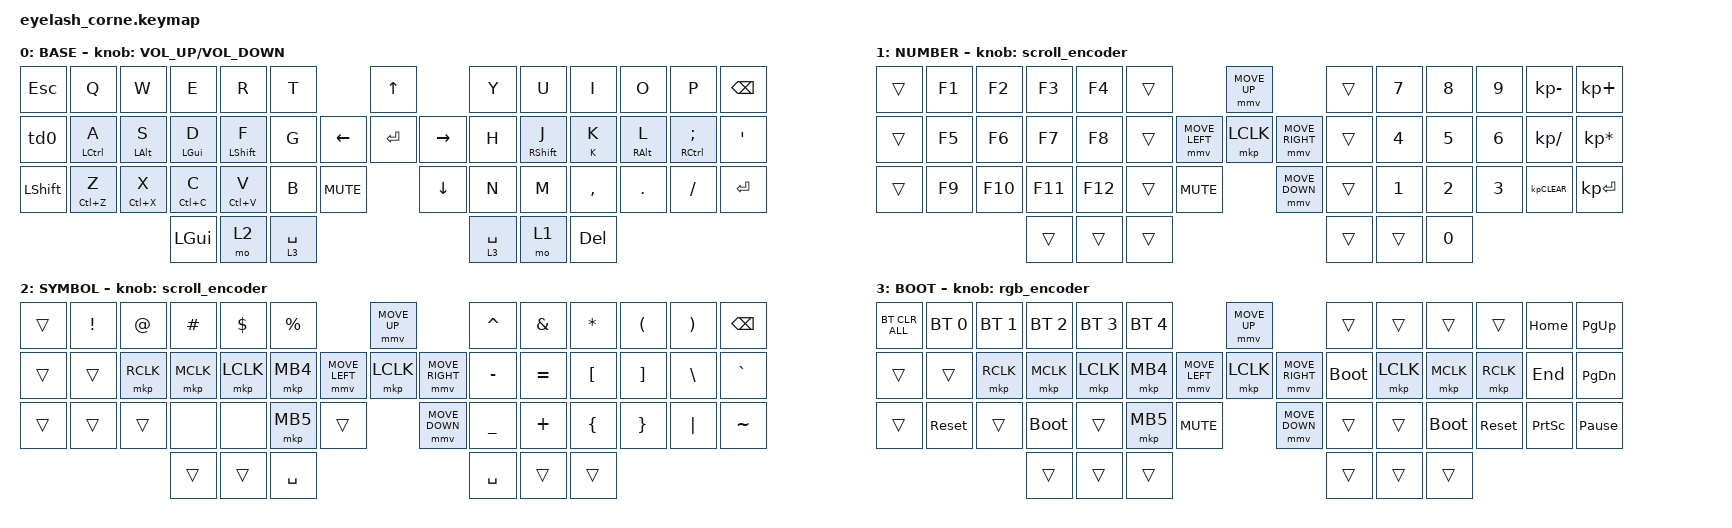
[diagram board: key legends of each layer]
#define ZMK_POINTING_DEFAULT_MOVE_VAL 1200  // 600
#define ZMK_POINTING_DEFAULT_SCRL_VAL 25   // 10

#include <input/processors.dtsi>
#include <zephyr/dt-bindings/input/input-event-codes.h>
#include <behaviors.dtsi>
#include <dt-bindings/zmk/bt.h>
#include <dt-bindings/zmk/keys.h>
#include <dt-bindings/zmk/pointing.h>
#include <dt-bindings/zmk/rgb.h>

&mmv_input_listener { input-processors = <&zip_xy_scaler 2 1>; };

&msc_input_listener { input-processors = <&zip_scroll_scaler 2 1>; };

&msc {
    acceleration-exponent = <1>;      // 0
    time-to-max-speed-ms = <100>;       // 300
    delay-ms = <0>;                   // 0
};

&mmv {
    time-to-max-speed-ms = <500>;
    acceleration-exponent = <1>;
    trigger-period-ms = <16>;
};

/ {
    behaviors {
        td0: td0 {
            compatible = "zmk,behavior-tap-dance";
            display-name = "Shift/Caps Lock Tap Dance";
            #binding-cells = <0>;
            bindings = <&kp TAB>, <&kp CAPS>;
        };

        hml: home_row_mod_left {
            compatible = "zmk,behavior-hold-tap";
            #binding-cells = <2>;
            flavor = "balanced";
            require-prior-idle-ms = <150>;
            tapping-term-ms = <300>;
            quick-tap-ms = <175>;
            bindings = <&kp>, <&kp>;

            hold-trigger-key-positions = <6 7 8 9 10 11 18 19 20 21 22 23 30 31 32 33 34 35 39 40 41>; // List of keys on the right side of the keyboard
            hold-trigger-on-release;
        };

        hmr: home_row_mod_right {
            compatible = "zmk,behavior-hold-tap";
            #binding-cells = <2>;
            flavor = "balanced";
            require-prior-idle-ms = <150>;
            tapping-term-ms = <300>;
            quick-tap-ms = <175>;
            bindings = <&kp>, <&kp>;

            hold-trigger-key-positions = <0 1 2 3 4 5 12 13 14 15 16 17 24 25 26 27 28 29 36 37 38>; // List of keys on the left side of the keyboard
            hold-trigger-on-release;
        };

        ctrl_morph: ctrl_morph {
            compatible = "zmk,behavior-hold-tap";
            #binding-cells = <2>;
            flavor = "balanced";
            require-prior-idle-ms = <150>;
            tapping-term-ms = <300>;
            quick-tap-ms = <175>;
            bindings = <&kp>, <&kp>;

            hold-trigger-on-release;
            label = "CTRL_MORPH";
            hold-trigger-key-positions = <28 29 30 31 32>;
        };
    };

    rgb_encoder: rgb_encoder {
        compatible = "zmk,behavior-sensor-rotate";
        #sensor-binding-cells = <0>;
        bindings = <&rgb_ug RGB_BRI>, <&rgb_ug RGB_BRD>;
    };

    scroll_encoder: scroll_encoder {
        compatible = "zmk,behavior-sensor-rotate";
        #sensor-binding-cells = <0>;
        bindings = <&msc SCRL_DOWN>, <&msc SCRL_UP>;

        tap-ms = <100>;
    };

    keymap {
        compatible = "zmk,keymap";

        default_layer {
            display-name = "BASE";
            bindings = <
&kp ESC     &kp Q         &kp W                &kp E                &kp R                &kp T                                &kp UP                &kp Y        &kp U         &kp I      &kp O        &kp P            &kp BSPC
&td0        &hml LCTRL A  &hml LALT S          &hml LGUI D          &hml LSHFT F         &kp G                      &kp LEFT  &kp ENTER  &kp RIGHT  &kp H        &hmr RSHFT J  &hmr K K   &hmr RALT L  &hmr RCTRL SEMI  &kp SQT
&kp LSHIFT  &hml LC(Z) Z  &ctrl_morph LC(X) X  &ctrl_morph LC(C) C  &ctrl_morph LC(V) V  &kp B        &kp C_MUTE              &kp DOWN              &kp N        &kp M         &kp COMMA  &kp DOT      &kp FSLH         &kp ENTER
                                               &kp LGUI             &mo 2                &lt 3 SPACE                                                &lt 3 SPACE  &mo 1         &kp DEL
            >;

            // sensor-bindings = <&inc_dec_kp C_VOLUME_UP C_VOLUME_DOWN>;

            sensor-bindings = <&inc_dec_kp C_VOLUME_UP C_VOLUME_DOWN>;
        };

        lower_layer {
            display-name = "NUMBER";
            bindings = <
&trans  &kp F1  &kp F2   &kp F3   &kp F4   &trans                                &mmv MOVE_UP                     &trans  &kp N7  &kp N8  &kp N9  &kp KP_MINUS  &kp KP_PLUS
&trans  &kp F5  &kp F6   &kp F7   &kp F8   &trans                &mmv MOVE_LEFT  &mkp LCLK       &mmv MOVE_RIGHT  &trans  &kp N4  &kp N5  &kp N6  &kp KP_SLASH  &kp KP_ASTERISK
&trans  &kp F9  &kp F10  &kp F11  &kp F12  &trans  &kp C_MUTE                    &mmv MOVE_DOWN                   &trans  &kp N1  &kp N2  &kp N3  &kp KP_CLEAR  &kp KP_ENTER
                         &trans   &trans   &trans                                                                 &trans  &trans  &kp N0
            >;

            sensor-bindings = <&scroll_encoder>;
        };

        raise_layer {
            display-name = "SYMBOL";
            bindings = <
&trans  &kp EXCL  &kp AT     &kp HASH   &kp DLLR   &kp PRCNT                            &mmv MOVE_UP                     &kp CARET  &kp AMPS   &kp ASTRK  &kp LPAR  &kp RPAR  &kp BSPC
&trans  &trans    &mkp RCLK  &mkp MCLK  &mkp LCLK  &mkp MB4             &mmv MOVE_LEFT  &mkp LCLK       &mmv MOVE_RIGHT  &kp MINUS  &kp EQUAL  &kp LBKT   &kp RBKT  &kp BSLH  &kp GRAVE
&trans  &trans    &trans     &none      &none      &mkp MB5   &trans                    &mmv MOVE_DOWN                   &kp UNDER  &kp PLUS   &kp LBRC   &kp RBRC  &kp PIPE  &kp TILDE
                             &trans     &trans     &kp SPACE                                                             &kp SPACE  &trans     &trans
            >;

            sensor-bindings = <&scroll_encoder>;
        };

        layer_3 {
            display-name = "BOOT";
            bindings = <
&bt BT_CLR_ALL  &bt BT_SEL 0  &bt BT_SEL 1  &bt BT_SEL 2  &bt BT_SEL 3  &bt BT_SEL 4                                &mmv MOVE_UP                     &trans       &trans     &trans       &trans      &kp HOME         &kp PG_UP
&trans          &trans        &mkp RCLK     &mkp MCLK     &mkp LCLK     &mkp MB4                    &mmv MOVE_LEFT  &mkp LCLK       &mmv MOVE_RIGHT  &bootloader  &mkp LCLK  &mkp MCLK    &mkp RCLK   &kp END          &kp PG_DN
&trans          &sys_reset    &trans        &bootloader   &trans        &mkp MB5      &kp C_MUTE                    &mmv MOVE_DOWN                   &trans       &trans     &bootloader  &sys_reset  &kp PRINTSCREEN  &kp PAUSE_BREAK
                                            &trans        &trans        &trans                                                                       &trans       &trans     &trans
            >;

            sensor-bindings = <&rgb_encoder>;
        };
    };
};
